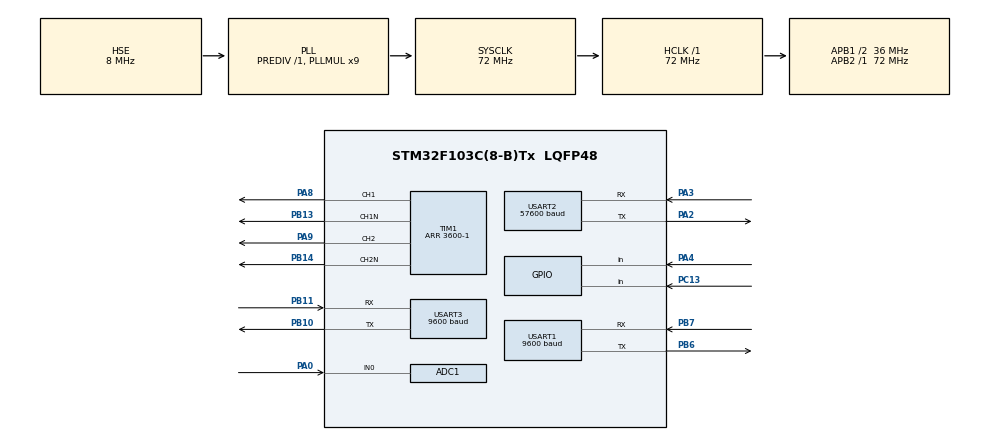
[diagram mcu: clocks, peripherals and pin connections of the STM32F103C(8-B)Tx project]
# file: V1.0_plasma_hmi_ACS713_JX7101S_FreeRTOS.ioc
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ADC1.Channel-0\#ChannelRegularConversion=ADC_CHANNEL_0
ADC1.ExternalTrigConv=ADC_EXTERNALTRIGCONV_T3_TRGO
ADC1.NbrOfConversionFlag=1
ADC1.Rank-0\#ChannelRegularConversion=1
ADC1.SamplingTime-0\#ChannelRegularConversion=ADC_SAMPLETIME_7CYCLES_5
ADC1.master=1
Dma.ADC1.0.Direction=DMA_PERIPH_TO_MEMORY
Dma.ADC1.0.Instance=DMA1_Channel1
Dma.ADC1.0.MemDataAlignment=DMA_MDATAALIGN_HALFWORD
Dma.ADC1.0.MemInc=DMA_MINC_ENABLE
Dma.ADC1.0.Mode=DMA_CIRCULAR
Dma.ADC1.0.PeriphDataAlignment=DMA_PDATAALIGN_HALFWORD
Dma.ADC1.0.PeriphInc=DMA_PINC_DISABLE
Dma.ADC1.0.Priority=DMA_PRIORITY_LOW
Dma.Request0=ADC1
FREERTOS.BinarySemaphores01=Sem_ADC_Half,Dynamic,NULL,Available;Sem_ADC_Full,Dynamic,NULL,Available
FREERTOS.Events01=EventGroup_WDG,Dynamic,NULL
FREERTOS.Mutexes01=Mutex_Current,Dynamic,NULL,Available
FREERTOS.Queues01=PulseQueue,5,uint32_t,0,Dynamic,NULL,NULL
FREERTOS.Tasks01=Task_UI_Comm,24,256,StartUICOmmTask,Default,NULL,Dynamic,NULL,NULL;Task_Current,40,128,StartCurrentTask,Default,NULL,Dynamic,NULL,NULL;Task_Control,32,128,StartControlTask,Default,NULL,Dynamic,NULL,NULL;Task_Watchdog,48,128,StartWatchdogTask,Default,NULL,Dynamic,NULL,NULL
FREERTOS.configGENERATE_RUN_TIME_STATS=1
FREERTOS.configRECORD_STACK_HIGH_ADDRESS=1
FREERTOS.configTOTAL_HEAP_SIZE=8192
IWDG.Prescaler=IWDG_PRESCALER_64
Mcu.Family=STM32F1
Mcu.Name=STM32F103C(8-B)Tx
Mcu.Package=LQFP48
NVIC.DMA1_Channel1_IRQn=true\:5\:0\:true\:false\:true\:true\:false\:true\:true
NVIC.PriorityGroup=NVIC_PRIORITYGROUP_4
NVIC.TIM1_UP_IRQn=true\:5\:0\:false\:false\:true\:true\:true\:true\:true
NVIC.TIM4_IRQn=true\:15\:0\:false\:false\:true\:false\:false\:true\:true
NVIC.TimeBase=TIM4_IRQn
NVIC.TimeBaseIP=TIM4
NVIC.USART2_IRQn=true\:7\:0\:true\:false\:true\:true\:true\:true\:true
NVIC.USART3_IRQn=true\:6\:0\:true\:false\:true\:true\:true\:true\:true
PA0-WKUP.Signal=ADCx_IN0
PA13.Mode=Serial_Wire
PA13.Signal=SYS_JTMS-SWDIO
PA14.Mode=Serial_Wire
PA14.Signal=SYS_JTCK-SWCLK
PA2.Mode=Asynchronous
PA2.Signal=USART2_TX
PA3.Mode=Asynchronous
PA3.Signal=USART2_RX
PA4.GPIO_PuPd=GPIO_PULLUP
PA4.Signal=GPIO_Input
PA8.Signal=S_TIM1_CH1
PA9.Signal=S_TIM1_CH2
PB10.Mode=Asynchronous
PB10.Signal=USART3_TX
PB11.Mode=Asynchronous
PB11.Signal=USART3_RX
PB13.Mode=PWM Generation1 CH1 CH1N
PB13.Signal=TIM1_CH1N
PB14.Mode=PWM Generation2 CH2 CH2N
PB14.Signal=TIM1_CH2N
PB6.Mode=Asynchronous
PB6.Signal=USART1_TX
PB7.Mode=Asynchronous
PB7.Signal=USART1_RX
PC13-TAMPER-RTC.GPIO_PuPd=GPIO_PULLUP
PC13-TAMPER-RTC.Signal=GPIO_Input
PD0-OSC_IN.Mode=HSE-External-Oscillator
PD0-OSC_IN.Signal=RCC_OSC_IN
PD1-OSC_OUT.Mode=HSE-External-Oscillator
PD1-OSC_OUT.Signal=RCC_OSC_OUT
ProjectManager.HeapSize=0x200
ProjectManager.StackSize=0x400
ProjectManager.TargetToolchain=CMake
RCC.ADCPresc=RCC_ADCPCLK2_DIV6
RCC.AHBFreq_Value=72000000
RCC.APB1CLKDivider=RCC_HCLK_DIV2
RCC.APB1Freq_Value=36000000
RCC.APB1TimFreq_Value=72000000
RCC.APB2Freq_Value=72000000
RCC.APB2TimFreq_Value=72000000
RCC.HCLKFreq_Value=72000000
RCC.PLLMUL=RCC_PLL_MUL9
RCC.PLLSourceVirtual=RCC_PLLSOURCE_HSE
RCC.SYSCLKFreq_VALUE=72000000
RCC.SYSCLKSource=RCC_SYSCLKSOURCE_PLLCLK
RCC.USBFreq_Value=72000000
SH.ADCx_IN0.0=ADC1_IN0,IN0
SH.S_TIM1_CH1.0=TIM1_CH1,PWM Generation1 CH1 CH1N
SH.S_TIM1_CH2.0=TIM1_CH2,PWM Generation2 CH2 CH2N
TIM1.AutoReloadPreload=TIM_AUTORELOAD_PRELOAD_ENABLE
TIM1.Channel-PWM\ Generation1\ CH1\ CH1N=TIM_CHANNEL_1
TIM1.Channel-PWM\ Generation2\ CH2\ CH2N=TIM_CHANNEL_2
TIM1.DeadTime=72
TIM1.Period=3600-1
TIM1.Pulse-PWM\ Generation1\ CH1\ CH1N=720
TIM1.Pulse-PWM\ Generation2\ CH2\ CH2N=720
TIM3.Period=179
TIM3.TIM_MasterOutputTrigger=TIM_TRGO_UPDATE
TIM3.TIM_MasterSlaveMode=TIM_MASTERSLAVEMODE_ENABLE
USART1.BaudRate=9600
USART1.VirtualMode=VM_ASYNC
USART2.BaudRate=57600
USART2.VirtualMode=VM_ASYNC
USART3.BaudRate=9600
USART3.VirtualMode=VM_ASYNC
VP_FREERTOS_VS_CMSIS_V2.Mode=CMSIS_V2
VP_IWDG_VS_IWDG.Mode=IWDG_Activate
VP_SYS_VS_tim4.Mode=TIM4
VP_TIM3_VS_ClockSourceINT.Mode=Internal
board=custom

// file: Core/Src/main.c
/* USER CODE BEGIN Header */
/**
  ******************************************************************************
  * @file           : main.c
  * @brief          : Main program body
  ******************************************************************************
  * @attention
  *
  * Copyright (c) 2025 STMicroelectronics.
  * All rights reserved.
  *
  * This software is licensed under terms that can be found in the LICENSE file
  * in the root directory of this software component.
  * If no LICENSE file comes with this software, it is provided AS-IS.
  *
  ******************************************************************************
  */
/* USER CODE END Header */
#include "main.h"
#include "cmsis_os.h"
#include "adc.h"
#include "dma.h"
#include "iwdg.h"
#include "tim.h"
#include "usart.h"
#include "gpio.h"

/* USER CODE BEGIN Includes */
#include "tjc_usart_hmi.h"
#include <stdio.h>
#include <string.h>
#include "pwm_hal.h"
#include "gear_switch_hal.h"
#include "pulse_control_hal.h"
#include "foot_pedal_hal.h"
#include "ACS712.h"
#include "current_filter.h"
#include <math.h>
#include "JX7101S.h"
/* USER CODE END Includes */

/* USER CODE BEGIN PV */
// === 1. 系统控制变量 ===
uint8_t rx_byte;

// === 新增的状态机变量放在这里 ===
/* 定义接收状态机的状态 */
uint8_t rx_state = 0;       // 0:找帧头, 1:找类型, 2:接收数据, 3:找帧尾1, 4:找帧尾2
uint8_t cmd_type = 0;       // 暂存指令类型
uint8_t data_buf[4];        // 暂存4字节数据
uint8_t data_idx = 0;       // 数据索引

// 这里的 PWM 变量建议保留，用于主循环或调试查看
volatile uint32_t current_freq = 100000;      // 默认上电：100KHZ
volatile uint32_t current_duty = 50;          // 默认占空比：100KHZ

// 系统使能标志位 (0:停止/关机, 1:运行/开机)
// 上电默认是 0，保证安全
uint8_t system_enable = 0;

//用于记录上一次的硬件档位，初始化为一个不可能的值(比如255)，确保开机能同步一次
uint8_t last_mode = 255;

// === 新增：电流采样变量 ===
#define BLOCK_SIZE    200
#define TOTAL_BUFFER  (BLOCK_SIZE * 2)

uint16_t adc_buffer[TOTAL_BUFFER]; // 双倍大小的大缓冲区 全局变量 存放在全局静态存储区

ACS712_t myCurrentSensor;          // 传感器对象
CurrentFilter_t myFilter;          // 滤波器对象

float current_display = 0.0f;      // 最终滤波后的值，用于显示/保护 最终电流显示

float voltage_display = 0.0f;      // 最终电压显示

extern osSemaphoreId_t Sem_ADC_HalfHandle;
extern osSemaphoreId_t Sem_ADC_FullHandle;

// 引入 CubeMX 帮我们生成的队列句柄
extern osMessageQueueId_t PulseQueueHandle;

/* USER CODE END PV */

void SystemClock_Config(void);
void MX_FREERTOS_Init(void);
/* USER CODE BEGIN PFP */
void Bluetooth_Send_Current(float *current);
void HMI_Sync_Hardware_Mode(uint8_t current_gear);
/* USER CODE END PFP */

/* USER CODE BEGIN 0 */

// ============================================================
// 1. HMI 底层发送函数 (自动加 ff ff ff)
// ============================================================
void HMI_Send_Cmd(char* cmd_str)
{
    // 发送字符串
    HAL_UART_Transmit(&huart2, (uint8_t*)cmd_str, strlen(cmd_str), 100);

    // 发送结束符
    uint8_t end_code[3] = {0xFF, 0xFF, 0xFF};
    HAL_UART_Transmit(&huart2, end_code, 3, 100);
}

// ============================================================
// 2. 核心逻辑：根据硬件档位，设置屏幕图标
// ============================================================
void HMI_Sync_Hardware_Mode(uint8_t current_gear)
{
    // 1. 强制锁定 bt2 为消融 (保持不变)
    HMI_Send_Cmd("bt2.val=0");

    // 2. 根据 gear 切换 bt1
    switch(current_gear)
    {
        // --------------------------------------------
        // 情况 A: 收到 1 -> 代表单极 (Monopolar)
        // --------------------------------------------
        case 1:
            HMI_Send_Cmd("bt1.val=0"); // 屏幕显示单极图标
            break;

        // --------------------------------------------
        // 情况 B: 收到 2 -> 代表双极 (Bipolar)
        // --------------------------------------------
        case 2:
            HMI_Send_Cmd("bt1.val=1"); // 屏幕显示双极图标
            break;

        // --------------------------------------------
        // 容错处理 (比如刚上电可能是0或255)
        // --------------------------------------------
        default:
            // 默认显示单极，比较安全
            HMI_Send_Cmd("bt1.val=0");
            break;
    }
}

void HAL_UART_RxCpltCallback(UART_HandleTypeDef *huart)
{
    if(huart->Instance == USART2)
    {
        // 1. 优先处理总开关指令 ('A' 和 'B')
        if(rx_byte == 'A')
        {
            system_enable = 1;
            PWM_Stop_HAL();
            rx_state = 0;
            HAL_UART_Receive_IT(&huart2, &rx_byte, 1);
            return;
        }
        else if(rx_byte == 'B')
        {
            system_enable = 0;
            PWM_Stop_HAL();
            rx_state = 0;
            HAL_UART_Receive_IT(&huart2, &rx_byte, 1);
            return;
        }

        // 2. 处理参数调节指令 (55 ...)
        switch(rx_state)
        {
            case 0: if(rx_byte == 0x55) rx_state = 1; break;
            case 1: cmd_type = rx_byte; data_idx = 0; rx_state = 2; break;
            case 2: data_buf[data_idx++] = rx_byte; if(data_idx >= 4) rx_state = 3; break;
            case 3: if(rx_byte == 0x0D) rx_state = 4; else rx_state = 0; break;

            case 4: // 帧尾 0x0A
                if(rx_byte == 0x0A)
                {
                    uint32_t val = (uint32_t)data_buf[0] | ((uint32_t)data_buf[1] << 8) |
                                   ((uint32_t)data_buf[2] << 16) | ((uint32_t)data_buf[3] << 24);

                    if(system_enable == 1)
                    {
                        if(cmd_type == 0x00) // 【调节频率】
                        {
                            PWM_SetFreq_HAL((float)val * 1000.0f);
                        }
                        else if(cmd_type == 0x01) // 【调节占空比】
                        {
                            PWM_SetDuty_HAL((float)val / 100.0f);
                        }
                        else if(cmd_type == 0x02) // 【发射脉冲】(重点修改在这里！)
                        {
                            // // 绝对不要在这里执行耗时操作！只竖起旗标并保存数据！
                            // target_pulse_counts = val;
                            // flag_trigger_pulse = 1;
                            // 1. 把接收到的值存入局部变量
                            uint32_t counts = val;

                            // 2. 将数据塞入消息队列
                            // 参数：队列句柄, 数据指针, 优先级(0), 超时时间(中断里必须是0!)
                            osMessageQueuePut(PulseQueueHandle, &counts, 0, 0);
                        }
                    }

                    // 强制下一轮主循环重刷屏幕图标（配合不崩溃的系统，这次它会生效了！）
                    last_mode = 255;
                    rx_state = 0;
                }
                else rx_state = 0;
                break;

            default: rx_state = 0;
        }
        HAL_UART_Receive_IT(&huart2, &rx_byte, 1);
    }
}
/* USER CODE END 0 */

int main(void)
{

  /* MCU Configuration--------------------------------------------------------*/

  /* Reset of all peripherals, Initializes the Flash interface and the Systick. */
  HAL_Init();

  /* Configure the system clock */
  SystemClock_Config();

  /* Initialize all configured peripherals */
  MX_GPIO_Init();
  MX_DMA_Init();
  MX_USART2_UART_Init();
  MX_TIM1_Init();
  MX_ADC1_Init();
  MX_TIM3_Init();
  MX_USART3_UART_Init();
  MX_USART1_UART_Init();
  MX_IWDG_Init();
  /* USER CODE BEGIN 2 */

   // 1. 开启串口接收
    HAL_UART_Receive_IT(&huart2, &rx_byte, 1);

    // 2. 初始化系统状态
    PWM_Stop_HAL();
    system_enable = 0; // 标记为关机状态 正常上电保证安全状态

    //system_enable = 1; // 标记为开机状态

    PWM_SetFreq_HAL(2000.0f);// 假设初始频率 2000Hz (人眼看不出闪烁)，占空比 50% (0.5f)
    PWM_SetDuty_HAL(0.5f);

    // ===3. 初始化电流传感器硬件 ===
      // 1. 初始化对象
      ACS712_Init(&myCurrentSensor, 0.1f, 3.3f);       // 20A 传感器
      CurrentFilter_Init(&myFilter, 0.1f, 0.1f);      // 带 0.1A 死区的滤波器

  /* USER CODE END 2 */

  /* Init scheduler */
  osKernelInitialize();  /* Call init function for freertos objects (in cmsis_os2.c) */
  MX_FREERTOS_Init();

  /* Start scheduler */
  osKernelStart();

  /* We should never get here as control is now taken by the scheduler */

  /* Infinite loop */
  /* USER CODE BEGIN WHILE */

  while (1)
  {
      // 你的系统现在由 FreeRTOS 全权接管，主循环正式光荣退休！
      osDelay(1000);

#if 0
	  // --- 01---PWM正常生成的测试代码开始：呼吸灯 ---

	        // 1. 逐渐变亮 (0% -> 100%)
	        for(int i = 0; i <= 100; i++)
	        {
	            PWM_SetDuty_HAL((float)i / 100.0f); // 设置占空比
	            HAL_Delay(10); // 延时一下，不然变化太快看不清
	        }

	        HAL_Delay(500); // 最亮停顿一下

	        // 2. 逐渐变暗 (100% -> 0%)
	        for(int i = 100; i >= 0; i--)
	        {
	            PWM_SetDuty_HAL((float)i / 100.0f);
	            HAL_Delay(10);
	        }

	        HAL_Delay(500); // 最暗停顿一下

#endif
    /* USER CODE END WHILE */

  }
}

void SystemClock_Config(void)
{
  RCC_OscInitTypeDef RCC_OscInitStruct = {0};
  RCC_ClkInitTypeDef RCC_ClkInitStruct = {0};
  RCC_PeriphCLKInitTypeDef PeriphClkInit = {0};

  /** Initializes the RCC Oscillators according to the specified parameters
  * in the RCC_OscInitTypeDef structure.
  */
  RCC_OscInitStruct.OscillatorType = RCC_OSCILLATORTYPE_LSI|RCC_OSCILLATORTYPE_HSE;
  RCC_OscInitStruct.HSEState = RCC_HSE_ON;
  RCC_OscInitStruct.HSEPredivValue = RCC_HSE_PREDIV_DIV1;
  RCC_OscInitStruct.HSIState = RCC_HSI_ON;
  RCC_OscInitStruct.LSIState = RCC_LSI_ON;
  RCC_OscInitStruct.PLL.PLLState = RCC_PLL_ON;
  RCC_OscInitStruct.PLL.PLLSource = RCC_PLLSOURCE_HSE;
  RCC_OscInitStruct.PLL.PLLMUL = RCC_PLL_MUL9;
  if (HAL_RCC_OscConfig(&RCC_OscInitStruct) != HAL_OK)
  {
    Error_Handler();
  }

  /** Initializes the CPU, AHB and APB buses clocks
  */
  RCC_ClkInitStruct.ClockType = RCC_CLOCKTYPE_HCLK|RCC_CLOCKTYPE_SYSCLK
                              |RCC_CLOCKTYPE_PCLK1|RCC_CLOCKTYPE_PCLK2;
  RCC_ClkInitStruct.SYSCLKSource = RCC_SYSCLKSOURCE_PLLCLK;
  RCC_ClkInitStruct.AHBCLKDivider = RCC_SYSCLK_DIV1;
  RCC_ClkInitStruct.APB1CLKDivider = RCC_HCLK_DIV2;
  RCC_ClkInitStruct.APB2CLKDivider = RCC_HCLK_DIV1;

  if (HAL_RCC_ClockConfig(&RCC_ClkInitStruct, FLASH_LATENCY_2) != HAL_OK)
  {
    Error_Handler();
  }
  PeriphClkInit.PeriphClockSelection = RCC_PERIPHCLK_ADC;
  PeriphClkInit.AdcClockSelection = RCC_ADCPCLK2_DIV6;
  if (HAL_RCCEx_PeriphCLKConfig(&PeriphClkInit) != HAL_OK)
  {
    Error_Handler();
  }
}

/* USER CODE BEGIN 4 */

// ===============================================
// 1. DMA 传输过半中断回调 (前 200 个数据准备好了)
// ===============================================
void HAL_ADC_ConvHalfCpltCallback(ADC_HandleTypeDef* hadc)
{
    if (hadc->Instance == ADC1) {
        // 【纯血 RTOS 架构兜底】释放信号量唤醒任务
        osStatus_t status = osSemaphoreRelease(Sem_ADC_HalfHandle);

        // 如果释放失败，说明任务还没来得及拿走上一次的钥匙！发生 Overrun(追尾)！
        if (status != osOK)
        {
            PWM_Stop_HAL();    // 硬件急停
            system_enable = 0; // 软件闭锁
        }
    }
}

// =============================================
// 2. DMA 传输完成中断回调 (后 200 个数据准备好了)
// =============================================
void HAL_ADC_ConvCpltCallback(ADC_HandleTypeDef* hadc)
{
    if (hadc->Instance == ADC1) {
        // 【纯血 RTOS 架构兜底】释放信号量唤醒任务
        osStatus_t status = osSemaphoreRelease(Sem_ADC_FullHandle);

        // 检测是否发生追尾
        if (status != osOK)
        {
            PWM_Stop_HAL();
            system_enable = 0;
        }
    }
}
// 定时器更新中断回调函数

// void HAL_TIM_PeriodElapsedCallback(TIM_HandleTypeDef *htim)
// {
//     // 检查是不是 TIM1 产生的中断
//     if (htim->Instance == TIM1)
//     {
//         // 调用脉冲计数处理
//         PulseControl_TIM_IRQ_Handler();
//     }
// }
// 1. DMA 传输过半中断回调 (前 200 个数据准备好了)

// === 蓝牙发送函数 (只发电流) ===
void Bluetooth_Send_Current(float* current)
{
    char tx_buffer[32]={0}; // 缓冲区不用太大，32字节够了
    //char tx_buffer[32]={'a','b','c',13,10,0};
    // 格式化为：数值 + 换行符
    // 例如发送：0.450\r\n
    // 这种格式最适合 SerialPlot 或 串口助手 自动绘图

    sprintf(tx_buffer, "%.3f\r\n", *current);

    // 通过 USART1 (已重映射到 PB6/PB7) 发送
    HAL_UART_Transmit(&huart1, (uint8_t*)tx_buffer, strlen(tx_buffer), 100);
}

/* USER CODE END 4 */

void HAL_TIM_PeriodElapsedCallback(TIM_HandleTypeDef *htim)
{
  /* USER CODE BEGIN Callback 0 */
	// 检查是不是 TIM1 产生的中断
	if (htim->Instance == TIM1)
	{
		// 调用脉冲计数处理
		PulseControl_TIM_IRQ_Handler();
	}
  /* USER CODE END Callback 0 */
  if (htim->Instance == TIM4)
  {
    HAL_IncTick();
  }
}

void Error_Handler(void)
{
  __disable_irq();
  while (1)
  {
  }
}

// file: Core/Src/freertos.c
/* USER CODE BEGIN Header */
/**
  ******************************************************************************
  * File Name          : freertos.c
  * Description        : Code for freertos applications
  ******************************************************************************
  * @attention
  *
  * Copyright (c) 2026 STMicroelectronics.
  * All rights reserved.
  *
  * This software is licensed under terms that can be found in the LICENSE file
  * in the root directory of this software component.
  * If no LICENSE file comes with this software, it is provided AS-IS.
  *
  ******************************************************************************
  */
/* USER CODE END Header */

#include "FreeRTOS.h"
#include "task.h"
#include "main.h"
#include "cmsis_os.h"

/* USER CODE BEGIN Includes */
#include "ACS712.h"
#include "current_filter.h"
#include "pwm_hal.h"
#include <math.h>

#include "JX7101S.h"
#include "gear_switch_hal.h"
#include <stdio.h>
#include <string.h>

#include "foot_pedal_hal.h"
#include "pulse_control_hal.h"
/* USER CODE END Includes */

/* USER CODE BEGIN PD */
#define BLOCK_SIZE    200

// 看门狗打卡位定义
#define WDG_BIT_CURRENT   (1 << 0)  // 0x01 (二进制 001) - 电流任务打卡位
#define WDG_BIT_CONTROL   (1 << 1)  // 0x02 (二进制 010) - 控制任务打卡位
#define WDG_BIT_UI        (1 << 2)  // 0x04 (二进制 100) - 屏幕任务打卡位

// 三个任务都打完卡的状态：001 | 010 | 100 = 111 (0x07)
#define WDG_BITS_ALL      (WDG_BIT_CURRENT | WDG_BIT_CONTROL | WDG_BIT_UI)

#define TOTAL_BUFFER  (BLOCK_SIZE * 2)

/* USER CODE END PD */

/* USER CODE BEGIN Variables */
extern ACS712_t myCurrentSensor;
extern uint16_t adc_buffer[TOTAL_BUFFER];  // TOTAL_BUFFER 的大小是 400

extern float current_display;
extern CurrentFilter_t myFilter;
extern uint8_t system_enable;
extern void PWM_Stop_HAL(void); // 如果提示找不到函数，也 extern 一下

// 👇新增的外部变量：串口句柄、电压变量、还有你在 main.c 写的几个函数
extern UART_HandleTypeDef huart2;
extern UART_HandleTypeDef huart3;
extern float voltage_display;
extern uint8_t last_mode;
extern void Bluetooth_Send_Current(float *current);
extern void HMI_Sync_Hardware_Mode(uint8_t current_gear);

extern IWDG_HandleTypeDef hiwdg;

// 告诉编译器，这几个硬件外设句柄在 main.c 中已经存在了
extern ADC_HandleTypeDef hadc1;
extern TIM_HandleTypeDef htim3;

// 告诉编译器，你的 ADC 缓冲区也在外面（注意数据类型，如果是 uint16_t 就写 uint16_t）
extern uint16_t adc_buffer[];

/* USER CODE END Variables */
/* Definitions for Task_UI_Comm */
osThreadId_t Task_UI_CommHandle;
const osThreadAttr_t Task_UI_Comm_attributes = {
  .name = "Task_UI_Comm",
  .stack_size = 256 * 4,
  .priority = (osPriority_t) osPriorityNormal,
};
/* Definitions for Task_Current */
osThreadId_t Task_CurrentHandle;
const osThreadAttr_t Task_Current_attributes = {
  .name = "Task_Current",
  .stack_size = 128 * 4,
  .priority = (osPriority_t) osPriorityHigh,
};
/* Definitions for Task_Control */
osThreadId_t Task_ControlHandle;
const osThreadAttr_t Task_Control_attributes = {
  .name = "Task_Control",
  .stack_size = 128 * 4,
  .priority = (osPriority_t) osPriorityAboveNormal,
};
/* Definitions for Task_Watchdog */
osThreadId_t Task_WatchdogHandle;
const osThreadAttr_t Task_Watchdog_attributes = {
  .name = "Task_Watchdog",
  .stack_size = 128 * 4,
  .priority = (osPriority_t) osPriorityRealtime,
};
/* Definitions for PulseQueue */
osMessageQueueId_t PulseQueueHandle;
const osMessageQueueAttr_t PulseQueue_attributes = {
  .name = "PulseQueue"
};
/* Definitions for Mutex_Current */
osMutexId_t Mutex_CurrentHandle;
const osMutexAttr_t Mutex_Current_attributes = {
  .name = "Mutex_Current"
};
/* Definitions for Sem_ADC_Half */
osSemaphoreId_t Sem_ADC_HalfHandle;
const osSemaphoreAttr_t Sem_ADC_Half_attributes = {
  .name = "Sem_ADC_Half"
};
/* Definitions for Sem_ADC_Full */
osSemaphoreId_t Sem_ADC_FullHandle;
const osSemaphoreAttr_t Sem_ADC_Full_attributes = {
  .name = "Sem_ADC_Full"
};
/* Definitions for EventGroup_WDG */
osEventFlagsId_t EventGroup_WDGHandle;
const osEventFlagsAttr_t EventGroup_WDG_attributes = {
  .name = "EventGroup_WDG"
};

void StartUICOmmTask(void *argument);
void StartCurrentTask(void *argument);
void StartControlTask(void *argument);
void StartWatchdogTask(void *argument);

void MX_FREERTOS_Init(void); /* (MISRA C 2004 rule 8.1) */

/* Hook prototypes */
void configureTimerForRunTimeStats(void);
unsigned long getRunTimeCounterValue(void);

/* USER CODE BEGIN 1 */
/* Functions needed when configGENERATE_RUN_TIME_STATS is on */
__weak void configureTimerForRunTimeStats(void)
{

}

__weak unsigned long getRunTimeCounterValue(void)
{
return 0;
}
/* USER CODE END 1 */

void MX_FREERTOS_Init(void) {
  /* Create the mutex(es) */
  /* creation of Mutex_Current */
  Mutex_CurrentHandle = osMutexNew(&Mutex_Current_attributes);

  /* Create the semaphores(s) */
  /* creation of Sem_ADC_Half */
  Sem_ADC_HalfHandle = osSemaphoreNew(1, 1, &Sem_ADC_Half_attributes);

  /* creation of Sem_ADC_Full */
  Sem_ADC_FullHandle = osSemaphoreNew(1, 1, &Sem_ADC_Full_attributes);

  /* Create the queue(s) */
  /* creation of PulseQueue */
  PulseQueueHandle = osMessageQueueNew (5, sizeof(uint32_t), &PulseQueue_attributes);

  /* Create the thread(s) */
  /* creation of Task_UI_Comm */
  Task_UI_CommHandle = osThreadNew(StartUICOmmTask, NULL, &Task_UI_Comm_attributes);

  /* creation of Task_Current */
  Task_CurrentHandle = osThreadNew(StartCurrentTask, NULL, &Task_Current_attributes);

  /* creation of Task_Control */
  Task_ControlHandle = osThreadNew(StartControlTask, NULL, &Task_Control_attributes);

  /* creation of Task_Watchdog */
  Task_WatchdogHandle = osThreadNew(StartWatchdogTask, NULL, &Task_Watchdog_attributes);

  /* creation of EventGroup_WDG */
  EventGroup_WDGHandle = osEventFlagsNew(&EventGroup_WDG_attributes);

}

void StartUICOmmTask(void *argument)
{
  /* USER CODE BEGIN StartUICOmmTask */

  /* Infinite loop */
  for(;;)
  {
  	// ============================================================
  	// 1. 【核心安全保护】使用替身安全读取全局变量
  	// ============================================================
  	float safe_current = 0.0f; // 准备一个局部替身变量

  	// 顾客要进厕所了，尝试拿钥匙 (等待最多 10ms)
  	if (osMutexAcquire(Mutex_CurrentHandle, 10) == osOK)
  	{
  		safe_current = current_display;      // 瞬间把数据拷贝到自己的替身里
  		osMutexRelease(Mutex_CurrentHandle); // 拷贝完立刻交出钥匙！绝不占着茅坑不拉屎！
  	}

  	// 2. 读取电压 (这是阻塞操作，放在这个低优先级任务里绝对安全，不会卡控制)
    //	float v_read = JX7101S_ReadVoltage(&huart3);
  	// 强行给一个假电压，先让程序跑下去！
  	float v_read = 12.34f;

  	if(v_read >= 0.0f) {
  		voltage_display = v_read;
  	} else {
  		voltage_display = 0.0f;
  	}

  	// ============================================================
  	// 3. 发送数据到串口屏 (使用刚刚拿到的替身 safe_current)
  	// ============================================================

#if 0
  	uint8_t cmd_buffer[100];

  	if (system_enable == 1)
  	{
  		// 注意这里：用的是 safe_current，而不是 current_display 啦！
  		sprintf((char*)cmd_buffer, "t8.txt=\"%.2f\"\xff\xff\xfft9.txt=\"%.2f\"\xff\xff\xff", safe_current, voltage_display);
  	}
  	else
  	{
  		sprintf((char*)cmd_buffer, "t8.txt=\"0.00\"\xff\xff\xfft9.txt=\"0.00\"\xff\xff\xff");
  	}
  	HAL_UART_Transmit(&huart2, cmd_buffer, strlen((char*)cmd_buffer), 100);
#endif
  	// 3. 安全发送数据到串口屏 (使用整数替换法，告别死机！)
  	// ============================================================
  	uint8_t cmd_buffer[100];

  	if (system_enable == 1)
  	{
  		// 把电流和电压拆成 整数部分 和 小数部分
  		int cur_int = (int)safe_current;                         // 电流整数部分
  		int cur_dec = (int)(safe_current * 100.0f) % 100;        // 电流小数部分 (2位)

  		int vol_int = (int)voltage_display;                      // 电压整数部分
  		int vol_dec = (int)(voltage_display * 100.0f) % 100;     // 电压小数部分 (2位)

  		// 🚨 核心看这里：用 %d.%02d 代替 %.2f ！！！绝对不会死机！
  		sprintf((char*)cmd_buffer, "t8.txt=\"%d.%02d\"\xff\xff\xfft9.txt=\"%d.%02d\"\xff\xff\xff",
				  cur_int, cur_dec, vol_int, vol_dec);
  	}
  	else
  	{
  		sprintf((char*)cmd_buffer, "t8.txt=\"0.00\"\xff\xff\xfft9.txt=\"0.00\"\xff\xff\xff");
  	}
  	HAL_UART_Transmit(&huart2, cmd_buffer, strlen((char*)cmd_buffer), 100);
  	// ============================================================
  	// 4. 蓝牙发送 (同样使用替身 safe_current)
  	// ============================================================
  	if (system_enable == 1)
  	{
  		Bluetooth_Send_Current(&safe_current);
  	}
  	// 4. 硬件状态同步逻辑
  	uint8_t current_mode = Gear_GetSelection_HAL();
  	if (current_mode != last_mode) {
  		HMI_Sync_Hardware_Mode(current_mode);
  		last_mode = current_mode;
  	}

  	// ============================================================
  	// 【核心灵魂代码】完美的 RTOS 延时！
  	// 彻底释放 CPU！在这 200 毫秒内，这个任务相当于“死”了，
  	// 把 100% 的算力全让给高频的电流保护和 PWM 控制任务！
  	// ============================================================
  	// 【新增】：UI任务汇报存活！
  	osEventFlagsSet(EventGroup_WDGHandle, WDG_BIT_UI);
  	// 【删除旧代码】：osDelay(200);
  	// 【换成新代码】：等待线程标志位 0x01，超时时间为 200 毫秒
  	// 如果没有过流报警，它就像 osDelay(200) 一样睡满 200ms 后自动醒来，做常规屏幕刷新。
  	// 如果电流任务发来了 0x01 标志，它瞬间被唤醒，0 延迟刷新屏幕！
  	osThreadFlagsWait(0x01, osFlagsWaitAny, 200);
  }
  /* USER CODE END StartUICOmmTask */
}

void StartCurrentTask(void *argument)
{
  /* USER CODE BEGIN StartCurrentTask */
	// 1. 在这里启动硬件，此时 RTOS 已经完全就绪，不怕中断了！
	HAL_ADC_Start_DMA(&hadc1, (uint32_t*)adc_buffer, TOTAL_BUFFER);
	HAL_TIM_Base_Start(&htim3);

	// 2. 延时等待稳定 (注意：在 RTOS 里必须用 osDelay，不能用 HAL_Delay)
	osDelay(1000);

	// 3. 进行零点校准
	ACS712_Calibrate(&myCurrentSensor, adc_buffer, TOTAL_BUFFER);

  /* Infinite loop */
  for(;;)
  {
      // ============================================================
	  // 第一部分：高速电流处理 (双缓冲 Ping-Pong Buffer)
  	 // 只有DMA发出信号后，CPU等待数据，再往下走，占用率0%
	  // ============================================================
	  //      --- 处理上半段 (0 - 199) ---
	        if (osSemaphoreAcquire(Sem_ADC_HalfHandle, osWaitForever) == osOK)
	        {

#if 0
	        	uint64_t sum_squares = 0;
	            int32_t zero_offset = myCurrentSensor.adc_midpoint;

	            for (int i = 0; i < BLOCK_SIZE; i++)
	            {
	                int32_t val = (int32_t)adc_buffer[i] - zero_offset;
	                sum_squares += (val * val);
	            }

	            float rms_bits = sqrtf((float)sum_squares / BLOCK_SIZE);
	            // 计算真实电流
	            float current_rms = (rms_bits * 3.3f / 4096.0f) / myCurrentSensor.sensitivity;
#endif

	        	// 🚨 直接调用极速版函数！传入 adc_buffer 的首地址，长度 200 (即 BLOCK_SIZE)
	        	float current_rms = ACS712_ReadRMS(&myCurrentSensor, adc_buffer, BLOCK_SIZE);
	        	// 1. 【核心】先算出最新值存到局部变量，绝对不受互斥锁的干扰！
	        	float latest_filtered_current = CurrentFilter_Process(&myFilter, current_rms);

	        	// 2. 【最高优先级保护】用最新的局部变量做判断，过流立刻急停，零延迟！
	        	if (latest_filtered_current > 10.0f)
	        	{
	        		PWM_Stop_HAL();
	        		system_enable = 0;
	        		// 【新增】：紧急唤醒 UI 任务！
	        		// 假设用第 0 位 (0x01) 代表“紧急刷新”标志
	        		osThreadFlagsSet(Task_UI_CommHandle, 0x01);
	        	}

	        	// 3. 【更新UI显示】只锁这 1 句赋值代码，瞬间交接给屏幕，不耽误下一次循环
	        	if (osMutexAcquire(Mutex_CurrentHandle, 10) == osOK)
	        	{
	        		current_display = latest_filtered_current;
	        		osMutexRelease(Mutex_CurrentHandle);
	        	}
	        }
	        // --- 处理下半段 (200 - 399) ---
  	        // 处理完上半段之后，DMA 会继续往下半段写数据，直到满了才发信号，所以这里也是完全同步的，不会有数据竞争问题
	        if (osSemaphoreAcquire(Sem_ADC_FullHandle, osWaitForever) == osOK)
	        {
#if 0
	        	uint64_t sum_squares = 0;
	            int32_t zero_offset = myCurrentSensor.adc_midpoint;

	            for (int i = 200; i < 400; i++)
	            {
	                int32_t val = (int32_t)adc_buffer[i] - zero_offset;
	                sum_s quares += (val * val);
	            }

	            float rms_bits = sqrtf((float)sum_squares / BLOCK_SIZE);
	            float current_rms = (rms_bits * 3.3f / 4096.0f) / myCurrentSensor.sensitivity;
#endif
	        	// 🚨 注意看这里！传入的是 &adc_buffer[BLOCK_SIZE]，也就是从第 200 个数据开始算！
	        	float current_rms = ACS712_ReadRMS(&myCurrentSensor, &adc_buffer[BLOCK_SIZE], BLOCK_SIZE);
	        	// 1. 局部变量存最新值
	        	float latest_filtered_current = CurrentFilter_Process(&myFilter, current_rms);

	        	// 2. 过流立刻急停
	        	if (latest_filtered_current > 10.0f)
	        	{
	        		PWM_Stop_HAL();
	        		system_enable = 0;
	        		// 【新增】：紧急唤醒 UI 任务！
	        		// 假设用第 0 位 (0x01) 代表“紧急刷新”标志
	        		osThreadFlagsSet(Task_UI_CommHandle, 0x01);
	        	}

	        	// 3. 给 UI 全局变量赋值（上锁）
	        	if (osMutexAcquire(Mutex_CurrentHandle, 10) == osOK)
	        	{
	        		current_display = latest_filtered_current;
	        		osMutexRelease(Mutex_CurrentHandle);
	        	}
	        	// 【新增】：电流任务汇报存活！
	        	osEventFlagsSet(EventGroup_WDGHandle, WDG_BIT_CURRENT);
	        }
  }
  /* USER CODE END StartCurrentTask */
}

void StartControlTask(void *argument)
{
  /* USER CODE BEGIN StartControlTask */
	uint8_t last_pedal_state = 0;
	uint32_t received_pulse_counts = 0; // 用于存放从队列接出来的脉冲数量

  /* Infinite loop */
  for(;;)
  {
  	// ============================================================
  	// 1. 【事件驱动核心】阻塞等待串口发来的脉冲指令，超时时间 20ms
  	// ============================================================
  	osStatus_t status = osMessageQueueGet(PulseQueueHandle, &received_pulse_counts, NULL, 20);

  	// 如果拿到了数据，说明串口来指令了！立刻执行，0延迟！
  	if (status == osOK)
  	{
  		// 只有在系统开启且没踩脚踏时，才允许屏幕触发定脉冲
  		if (system_enable == 1 && FootPedal_IsPressed_HAL() == 0)
  		{
  			uint8_t current_mode = Gear_GetSelection_HAL();
  			PulseControl_Start_HAL(received_pulse_counts, current_mode);
  		}
  	}

  	// ============================================================
  	// 2. 原有的脚踏控制逻辑 (保持不变)
  	// ============================================================
  	// 只有在 (系统开机) 且 (没有跑自动脉冲) 时，允许脚踏控制
  	if (system_enable == 1 && PulseControl_IsActive() == 0)
  	{
  		uint8_t current_pedal = FootPedal_IsPressed_HAL();
  		if (current_pedal != last_pedal_state)
  		{
  			osDelay(10); // 消抖
  			current_pedal = FootPedal_IsPressed_HAL();
  			if (current_pedal != last_pedal_state)
  			{
  				if (current_pedal == 1) {
  					uint8_t mode = Gear_GetSelection_HAL();
  					PWM_Start_HAL(mode);
  				} else {
  					PWM_Stop_HAL();
  				}
  				last_pedal_state = current_pedal;
  			}
  		}
  	}
  	else
  	{
  		last_pedal_state = FootPedal_IsPressed_HAL(); // 同步状态，防止带载启动
  	}

  	// ============================================================
  	// 3. 任务汇报存活！
  	// ============================================================
  	osEventFlagsSet(EventGroup_WDGHandle, WDG_BIT_CONTROL);

  }
  /* USER CODE END StartControlTask */
}

void StartWatchdogTask(void *argument)
{
  /* USER CODE BEGIN StartWatchdogTask */
	// 开机先擦一次黑板，确保初始状态干净
	osEventFlagsClear(EventGroup_WDGHandle, WDG_BITS_ALL);
  /* Infinite loop */
  for(;;)
  {

  	// 查岗大爷在黑板前死等，直到三个勾 (WDG_BITS_ALL) 都被画上。
  	// 如果等了 500ms 还没凑齐，说明有任务卡死了，大爷就不等了，直接引发后续的看门狗复位重启！
  	uint32_t flags = osEventFlagsWait(EventGroup_WDGHandle,
										WDG_BITS_ALL,
										osFlagsWaitAll | osFlagsNoClear, // 等待所有标志，并且拿到后先不自动清除
										500); // 500ms 超时时间（根据你系统最慢任务的周期调整）

  	if (flags == WDG_BITS_ALL)
  	{
  		// 恭喜！三个任务都活着！
  		// 1. 喂真狗，保平安
  		HAL_IWDG_Refresh(&hiwdg);

  		// 2. 擦黑板，准备下一轮查岗
  		osEventFlagsClear(EventGroup_WDGHandle, WDG_BITS_ALL);
  	}
  	else
  	{
  		// 发生严重故障！有任务没打卡（超时了）！
  		// 这里什么也不做，不喂狗。
  		// 几百毫秒后，硬件看门狗 IWDG 就会因为饥饿而咬下复位键，系统重启。

  		// (可选：如果你有 LED，可以在这里点亮一个红灯表示系统即将复位)
  	}

  	osDelay(100); // 每 100ms 喂一次，稳如泰山
  }
  /* USER CODE END StartWatchdogTask */
}
